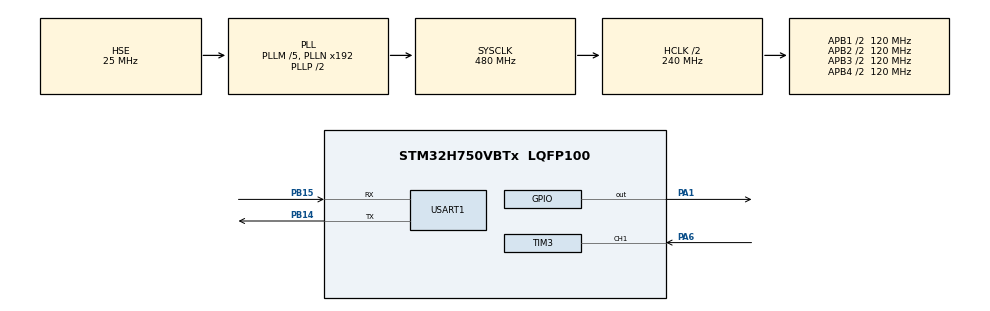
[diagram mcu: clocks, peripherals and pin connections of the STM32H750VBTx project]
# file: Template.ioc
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CORTEX_M7.AccessPermission-Cortex_Memory_Protection_Unit_Region0_Settings=MPU_REGION_FULL_ACCESS
CORTEX_M7.AccessPermission-Cortex_Memory_Protection_Unit_Region1_Settings=MPU_REGION_FULL_ACCESS
CORTEX_M7.AccessPermission-Cortex_Memory_Protection_Unit_Region2_Settings=MPU_REGION_FULL_ACCESS
CORTEX_M7.AccessPermission-Cortex_Memory_Protection_Unit_Region3_Settings=MPU_REGION_FULL_ACCESS
CORTEX_M7.AccessPermission-Cortex_Memory_Protection_Unit_Region4_Settings=MPU_REGION_FULL_ACCESS
CORTEX_M7.BaseAddress-Cortex_Memory_Protection_Unit_Region0_Settings=0x24000000
CORTEX_M7.BaseAddress-Cortex_Memory_Protection_Unit_Region1_Settings=0x30000000
CORTEX_M7.BaseAddress-Cortex_Memory_Protection_Unit_Region2_Settings=0x30020000
CORTEX_M7.BaseAddress-Cortex_Memory_Protection_Unit_Region3_Settings=0x30040000
CORTEX_M7.BaseAddress-Cortex_Memory_Protection_Unit_Region4_Settings=0x38000000
CORTEX_M7.CPU_DCache=Enabled
CORTEX_M7.CPU_ICache=Enabled
CORTEX_M7.Enable-Cortex_Memory_Protection_Unit_Region0_Settings=MPU_REGION_ENABLE
CORTEX_M7.Enable-Cortex_Memory_Protection_Unit_Region1_Settings=MPU_REGION_ENABLE
CORTEX_M7.Enable-Cortex_Memory_Protection_Unit_Region2_Settings=MPU_REGION_ENABLE
CORTEX_M7.Enable-Cortex_Memory_Protection_Unit_Region3_Settings=MPU_REGION_ENABLE
CORTEX_M7.Enable-Cortex_Memory_Protection_Unit_Region4_Settings=MPU_REGION_ENABLE
CORTEX_M7.IsBufferable-Cortex_Memory_Protection_Unit_Region0_Settings=MPU_ACCESS_BUFFERABLE
CORTEX_M7.IsCacheable-Cortex_Memory_Protection_Unit_Region0_Settings=MPU_ACCESS_CACHEABLE
CORTEX_M7.MPU_Control=MPU_PRIVILEGED_DEFAULT
CORTEX_M7.Size-Cortex_Memory_Protection_Unit_Region0_Settings=MPU_REGION_SIZE_512KB
CORTEX_M7.Size-Cortex_Memory_Protection_Unit_Region1_Settings=MPU_REGION_SIZE_128KB
CORTEX_M7.Size-Cortex_Memory_Protection_Unit_Region2_Settings=MPU_REGION_SIZE_128KB
CORTEX_M7.Size-Cortex_Memory_Protection_Unit_Region3_Settings=MPU_REGION_SIZE_32KB
CORTEX_M7.Size-Cortex_Memory_Protection_Unit_Region4_Settings=MPU_REGION_SIZE_64KB
CORTEX_M7.TypeExtField-Cortex_Memory_Protection_Unit_Region0_Settings=MPU_TEX_LEVEL1
CORTEX_M7.TypeExtField-Cortex_Memory_Protection_Unit_Region1_Settings=MPU_TEX_LEVEL1
CORTEX_M7.TypeExtField-Cortex_Memory_Protection_Unit_Region2_Settings=MPU_TEX_LEVEL1
CORTEX_M7.TypeExtField-Cortex_Memory_Protection_Unit_Region3_Settings=MPU_TEX_LEVEL1
CORTEX_M7.TypeExtField-Cortex_Memory_Protection_Unit_Region4_Settings=MPU_TEX_LEVEL1
Mcu.Family=STM32H7
Mcu.Name=STM32H750VBTx
Mcu.Package=LQFP100
NVIC.PriorityGroup=NVIC_PRIORITYGROUP_4
NVIC.TIM3_IRQn=true\:0\:0\:false\:false\:true\:true\:true\:true
NVIC.TIM5_IRQn=true\:0\:0\:false\:false\:true\:true\:true\:true
PA1.GPIO_PuPd=GPIO_PULLDOWN
PA1.Signal=GPIO_Output
PA13\ (JTMS/SWDIO).Mode=Serial_Wire
PA13\ (JTMS/SWDIO).Signal=DEBUG_JTMS-SWDIO
PA14\ (JTCK/SWCLK).Mode=Serial_Wire
PA14\ (JTCK/SWCLK).Signal=DEBUG_JTCK-SWCLK
PA6.Signal=S_TIM3_CH1
PB14.Mode=Asynchronous
PB14.Signal=USART1_TX
PB15.Mode=Asynchronous
PB15.Signal=USART1_RX
PH0-OSC_IN\ (PH0).Mode=HSE-External-Oscillator
PH0-OSC_IN\ (PH0).Signal=RCC_OSC_IN
PH1-OSC_OUT\ (PH1).Mode=HSE-External-Oscillator
PH1-OSC_OUT\ (PH1).Signal=RCC_OSC_OUT
ProjectManager.HeapSize=0x200
ProjectManager.StackSize=0x7400
ProjectManager.TargetToolchain=MDK-ARM V5.32
RCC.ADCFreq_Value=50390625
RCC.APB1Freq_Value=120000000
RCC.APB2Freq_Value=120000000
RCC.APB3Freq_Value=120000000
RCC.APB4Freq_Value=120000000
RCC.CortexFreq_Value=480000000
RCC.D1PPRE=RCC_APB3_DIV2
RCC.D2PPRE1=RCC_APB1_DIV2
RCC.D2PPRE2=RCC_APB2_DIV2
RCC.D3PPRE=RCC_APB4_DIV2
RCC.DIVM1=5
RCC.DIVN1=192
RCC.HCLKFreq_Value=240000000
RCC.HPRE=RCC_HCLK_DIV2
RCC.PLLSourceVirtual=RCC_PLLSOURCE_HSE
RCC.ProductRev=revV
RCC.SYSCLKFreq_VALUE=480000000
RCC.SYSCLKSource=RCC_SYSCLKSOURCE_PLLCLK
RCC.USBFreq_Value=480000000
SH.S_TIM3_CH1.0=TIM3_CH1,Input_Capture1_from_TI1
TIM2.Period=0xFFFFFFFF
TIM3.Channel-Input_Capture1_from_TI1=TIM_CHANNEL_1
TIM3.Period=0
TIM3.Prescaler=240-1
TIM5.Period=10000-1
TIM5.Prescaler=24000-1
TIM7.Prescaler=239
USART1.VirtualMode-Asynchronous=VM_ASYNC
VP_TIM2_VS_ClockSourceINT.Mode=Internal
VP_TIM3_VS_ClockSourceINT.Mode=Internal
VP_TIM5_VS_ClockSourceINT.Mode=Internal
VP_TIM7_VS_ClockSourceINT.Mode=Enable_Timer
board=custom

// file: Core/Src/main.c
/* USER CODE BEGIN Header */
/**
  ******************************************************************************
  * @file           : main.c
  * @brief          : Main program body
  ******************************************************************************
  * @attention
  *
  * Copyright (c) 2023 STMicroelectronics.
  * All rights reserved.
  *
  * This software is licensed under terms that can be found in the LICENSE file
  * in the root directory of this software component.
  * If no LICENSE file comes with this software, it is provided AS-IS.
  *
  ******************************************************************************
  */
/* USER CODE END Header */
#include "main.h"
#include "tim.h"
#include "usart.h"
#include "gpio.h"

/* USER CODE BEGIN PV */
uint16_t GATE_OPEN,GATE_READY2CLOSE;
uint32_t Nx,Nb;
uint8_t Fre_State=LOW_FREQUENCY;	//默认低频
double fre;

/* USER CODE END PV */

void SystemClock_Config(void);
static void MPU_Initialize(void);
static void MPU_Config(void);
/* USER CODE BEGIN PFP */
void Parameter_Init(void);
void Turn2HIGH_FREQUENCY_MODE(void);
void Turn2LOW_FREQUENCY_MODE(void);

void MX_TIM3_Init_ETR(void);

/* USER CODE END PFP */

int main(void)
{

  /* Enable I-Cache---------------------------------------------------------*/
  SCB_EnableICache();

  /* Enable D-Cache---------------------------------------------------------*/
  SCB_EnableDCache();

  /* MCU Configuration--------------------------------------------------------*/

  /* Reset of all peripherals, Initializes the Flash interface and the Systick. */
  HAL_Init();

  /* MPU Configuration--------------------------------------------------------*/
  MPU_Config();

  /* Configure the system clock */
  SystemClock_Config();

  /* Initialize all configured peripherals */
  MX_GPIO_Init();
  MX_TIM7_Init();
  MX_USART1_UART_Init();
  MX_TIM2_Init();
  MX_TIM3_Init();
  MX_TIM5_Init();
  /* USER CODE BEGIN 2 */
	Parameter_Init();

	printf("\nstart\n");
  HAL_TIM_IC_Start_IT(&htim3, TIM_CHANNEL_1);    //启动输入捕获

  /* USER CODE END 2 */

  /* Infinite loop */
  while (1)
  {

  }
}

void SystemClock_Config(void)
{
  RCC_OscInitTypeDef RCC_OscInitStruct = {0};
  RCC_ClkInitTypeDef RCC_ClkInitStruct = {0};

  /** Supply configuration update enable
  */
  HAL_PWREx_ConfigSupply(PWR_LDO_SUPPLY);

  /** Configure the main internal regulator output voltage
  */
  __HAL_PWR_VOLTAGESCALING_CONFIG(PWR_REGULATOR_VOLTAGE_SCALE1);

  while(!__HAL_PWR_GET_FLAG(PWR_FLAG_VOSRDY)) {}

  __HAL_RCC_SYSCFG_CLK_ENABLE();
  __HAL_PWR_VOLTAGESCALING_CONFIG(PWR_REGULATOR_VOLTAGE_SCALE0);

  while(!__HAL_PWR_GET_FLAG(PWR_FLAG_VOSRDY)) {}

  /** Initializes the RCC Oscillators according to the specified parameters
  * in the RCC_OscInitTypeDef structure.
  */
  RCC_OscInitStruct.OscillatorType = RCC_OSCILLATORTYPE_HSE;
  RCC_OscInitStruct.HSEState = RCC_HSE_ON;
  RCC_OscInitStruct.PLL.PLLState = RCC_PLL_ON;
  RCC_OscInitStruct.PLL.PLLSource = RCC_PLLSOURCE_HSE;
  RCC_OscInitStruct.PLL.PLLM = 5;
  RCC_OscInitStruct.PLL.PLLN = 192;
  RCC_OscInitStruct.PLL.PLLP = 2;
  RCC_OscInitStruct.PLL.PLLQ = 2;
  RCC_OscInitStruct.PLL.PLLR = 2;
  RCC_OscInitStruct.PLL.PLLRGE = RCC_PLL1VCIRANGE_2;
  RCC_OscInitStruct.PLL.PLLVCOSEL = RCC_PLL1VCOWIDE;
  RCC_OscInitStruct.PLL.PLLFRACN = 0;
  if (HAL_RCC_OscConfig(&RCC_OscInitStruct) != HAL_OK)
  {
    Error_Handler();
  }

  /** Initializes the CPU, AHB and APB buses clocks
  */
  RCC_ClkInitStruct.ClockType = RCC_CLOCKTYPE_HCLK|RCC_CLOCKTYPE_SYSCLK
                              |RCC_CLOCKTYPE_PCLK1|RCC_CLOCKTYPE_PCLK2
                              |RCC_CLOCKTYPE_D3PCLK1|RCC_CLOCKTYPE_D1PCLK1;
  RCC_ClkInitStruct.SYSCLKSource = RCC_SYSCLKSOURCE_PLLCLK;
  RCC_ClkInitStruct.SYSCLKDivider = RCC_SYSCLK_DIV1;
  RCC_ClkInitStruct.AHBCLKDivider = RCC_HCLK_DIV2;
  RCC_ClkInitStruct.APB3CLKDivider = RCC_APB3_DIV2;
  RCC_ClkInitStruct.APB1CLKDivider = RCC_APB1_DIV2;
  RCC_ClkInitStruct.APB2CLKDivider = RCC_APB2_DIV2;
  RCC_ClkInitStruct.APB4CLKDivider = RCC_APB4_DIV2;

  if (HAL_RCC_ClockConfig(&RCC_ClkInitStruct, FLASH_LATENCY_4) != HAL_OK)
  {
    Error_Handler();
  }
}

/* USER CODE BEGIN 4 */

//初始化
void Parameter_Init(void)
{

	GATE_OPEN=0;
	GATE_READY2CLOSE=0;
	Nx=0;
	Nb=0;
	fre=0.0;
}

//输入捕获的中断回调函数
void HAL_TIM_IC_CaptureCallback(TIM_HandleTypeDef *htim)
{
	if(TIM3 == htim->Instance)
	{

		if(!GATE_OPEN)
		{
			//启动闸门 TIM5 开始计数标准信号
			__HAL_TIM_CLEAR_IT(&htim5, TIM_IT_UPDATE);
			HAL_TIM_Base_Start_IT(&htim5);
			HAL_TIM_Base_Start(&htim2);
			GATE_OPEN=1;
		}
		else
		{
			//测频中，捕捉到一次信号 输入计数值加1
			Nx++;

			//避免低频模式，输入频率过高，程序卡死
			if(Nx>20000)
			{
				HAL_TIM_Base_Stop(&htim2);
				HAL_TIM_IC_Stop_IT(&htim3, TIM_CHANNEL_1);
				HAL_TIM_Base_Stop_IT(&htim5);
				Turn2HIGH_FREQUENCY_MODE();
			}
		}

		if(GATE_OPEN&&GATE_READY2CLOSE)
		{
			//关闭闸门 停止捕捉
			HAL_TIM_Base_Stop(&htim2);
			HAL_TIM_IC_Stop_IT(&htim3, TIM_CHANNEL_1);
			HAL_TIM_Base_Stop_IT(&htim5);
			//锁存Nx Nb数据 计算频率值
			Nb=__HAL_TIM_GetCounter(&htim2);
			fre=((double)Nx)/((double)Nb)*240000000.0;
			//判断
			if(fre<10000.0)
			{
	//		  	// LCD显示
	//				LCD_Display();
			int a0,a1;
			int b0,b1;
			double period;
			period=1.0/fre;
			//频率单位
			if(fre<=1000)
			{
				printf("t4.txt=\"Hz\"\xFF\xFF\xFF");
			}
			else if(fre<=1000000&&fre>1000)
			{
				printf("t4.txt=\"kHz\"\xFF\xFF\xFF");
				fre=fre/1000;
			}
			else if(fre>1000000)
			{
				printf("t4.txt=\"MHz\"\xFF\xFF\xFF");
				fre=fre/1000000;
			}
			//周期单位
			if(period>=1)
			{
				printf("t5.txt=\"s\"\xFF\xFF\xFF");
			}
			else if(period<1&&period>=0.001)
			{
				printf("t5.txt=\"ms\"\xFF\xFF\xFF");
				period=period*1000.0;
			}
			else if(period<0.001&&period>=0.000001)
			{
				printf("t5.txt=\"us\"\xFF\xFF\xFF");
				period=period*1000000.0;
			}
			a0=fre;
			a1=(fre-a0)*1000000;
			b0=period;
			b1=(period-b0)*1000000;
			printf("n0.val=%d\xFF\xFF\xFF",a0);
			printf("n1.val=%d\xFF\xFF\xFF",a1);
			printf("n2.val=%d\xFF\xFF\xFF",b0);
			printf("n5.val=%d\xFF\xFF\xFF",b1);
	//				HAL_Delay(500);

					//准备下一次测量
					Parameter_Init();
					__HAL_TIM_SetCounter(&htim2,0);  //注意！！！！！！！计数值不会因为定时器暂停而清零
					HAL_TIM_IC_Start_IT(&htim3, TIM_CHANNEL_1);    //启动输入捕获
			}
			else
			{
				Turn2HIGH_FREQUENCY_MODE();
			}
		}
	}
}

//定时器触发的中断回调函数
void HAL_TIM_PeriodElapsedCallback(TIM_HandleTypeDef *htim)
{
	//闸门溢出 规定测量时间到
		if(TIM5 == htim->Instance&&Fre_State==LOW_FREQUENCY)
    {
			GATE_READY2CLOSE=1;
    }
		else if(TIM5 == htim->Instance&&Fre_State==HIGH_FREQUENCY)
    {
			HAL_TIM_Base_Stop_IT(&htim5);
			HAL_TIM_Base_Stop_IT(&htim3);
			HAL_TIM_Base_Stop(&htim2);
			Nx+=TIM3->CNT;
			Nb=TIM2->CNT;
	  	fre=((double)Nx)/((double)Nb)*240000000.0;
			if(Nx>=10000.0)
			{
				//显示
//			LCD_Display();

//			printf("fre = %f\n",fre);
			int a0,a1;
			int b0,b1;
			double period;
			period=1.0/fre;
			//频率单位
			if(fre<=1000)
			{
				printf("t4.txt=\"Hz\"\xFF\xFF\xFF");
			}
			else if(fre<=1000000&&fre>1000)
			{
				printf("t4.txt=\"kHz\"\xFF\xFF\xFF");
				fre=fre/1000;
			}
			else if(fre>1000000)
			{
				printf("t4.txt=\"MHz\"\xFF\xFF\xFF");
				fre=fre/1000000;
			}
			//周期单位
			if(period>=1)
			{
				printf("t5.txt=\"s\"\xFF\xFF\xFF");
			}
			else if(period<1&&period>=0.001)
			{
				printf("t5.txt=\"ms\"\xFF\xFF\xFF");
				period=period*1000.0;
			}
			else if(period<0.001&&period>=0.000001)
			{
				printf("t5.txt=\"us\"\xFF\xFF\xFF");
				period=period*1000000.0;
			}
			a0=fre;
			a1=(fre-a0)*1000000;
			b0=period;
			b1=(period-b0)*1000000;
			printf("n0.val=%d\xFF\xFF\xFF",a0);
			printf("n1.val=%d\xFF\xFF\xFF",a1);
			printf("n2.val=%d\xFF\xFF\xFF",b0);
			printf("n5.val=%d\xFF\xFF\xFF",b1);
//			HAL_Delay(500);

	    Parameter_Init();
	  	__HAL_TIM_SetCounter(&htim2,0);  //注意！！！！！！！计数值不会因为定时器暂停而清零
			__HAL_TIM_SetCounter(&htim3,0);  //注意！！！！！！！计数值不会因为定时器暂停而清零

			HAL_TIM_Base_Start_IT(&htim5);
			HAL_TIM_Base_Start_IT(&htim3);
			HAL_TIM_Base_Start(&htim2);
			}
			else
			{
				Turn2LOW_FREQUENCY_MODE();
			}
    }

		//溢出
		else if(TIM3 == htim->Instance&&Fre_State==HIGH_FREQUENCY)
    {
			Nx+=0xFFFF;
    }

}

//测高频
void Turn2HIGH_FREQUENCY_MODE(void)
{
		  Fre_State=HIGH_FREQUENCY;
			MX_TIM3_Init_ETR();

			Parameter_Init();
	  	__HAL_TIM_SetCounter(&htim2,0);  //注意！！！！！！！计数值不会因为定时器暂停而清零
			__HAL_TIM_SetCounter(&htim3,0);  //注意！！！！！！！计数值不会因为定时器暂停而清零

			HAL_TIM_Base_Start_IT(&htim5);
			HAL_TIM_Base_Start_IT(&htim3);
			HAL_TIM_Base_Start(&htim2);
}

//测低频
void Turn2LOW_FREQUENCY_MODE(void)
{
		Fre_State=LOW_FREQUENCY;
		Parameter_Init();
	  __HAL_TIM_SetCounter(&htim2,0);  //注意！！！！！！！计数值不会因为定时器暂停而清零
		MX_TIM3_Init();
		HAL_TIM_IC_Start_IT(&htim3, TIM_CHANNEL_1);    //启动输入捕获
}

/* USER CODE END 4 */

/* MPU Configuration */

void MPU_Config(void)
{
  MPU_Region_InitTypeDef MPU_InitStruct = {0};

  /* Disables the MPU */
  HAL_MPU_Disable();

  /** Initializes and configures the Region and the memory to be protected
  */
  MPU_InitStruct.Enable = MPU_REGION_ENABLE;
  MPU_InitStruct.Number = MPU_REGION_NUMBER0;
  MPU_InitStruct.BaseAddress = 0x24000000;
  MPU_InitStruct.Size = MPU_REGION_SIZE_512KB;
  MPU_InitStruct.SubRegionDisable = 0x0;
  MPU_InitStruct.TypeExtField = MPU_TEX_LEVEL1;
  MPU_InitStruct.AccessPermission = MPU_REGION_FULL_ACCESS;
  MPU_InitStruct.DisableExec = MPU_INSTRUCTION_ACCESS_ENABLE;
  MPU_InitStruct.IsShareable = MPU_ACCESS_NOT_SHAREABLE;
  MPU_InitStruct.IsCacheable = MPU_ACCESS_CACHEABLE;
  MPU_InitStruct.IsBufferable = MPU_ACCESS_BUFFERABLE;

  HAL_MPU_ConfigRegion(&MPU_InitStruct);

  /** Initializes and configures the Region and the memory to be protected
  */
  MPU_InitStruct.Number = MPU_REGION_NUMBER1;
  MPU_InitStruct.BaseAddress = 0x30000000;
  MPU_InitStruct.Size = MPU_REGION_SIZE_128KB;
  MPU_InitStruct.IsCacheable = MPU_ACCESS_NOT_CACHEABLE;
  MPU_InitStruct.IsBufferable = MPU_ACCESS_NOT_BUFFERABLE;

  HAL_MPU_ConfigRegion(&MPU_InitStruct);

  /** Initializes and configures the Region and the memory to be protected
  */
  MPU_InitStruct.Number = MPU_REGION_NUMBER2;
  MPU_InitStruct.BaseAddress = 0x30020000;

  HAL_MPU_ConfigRegion(&MPU_InitStruct);

  /** Initializes and configures the Region and the memory to be protected
  */
  MPU_InitStruct.Number = MPU_REGION_NUMBER3;
  MPU_InitStruct.BaseAddress = 0x30040000;
  MPU_InitStruct.Size = MPU_REGION_SIZE_32KB;

  HAL_MPU_ConfigRegion(&MPU_InitStruct);

  /** Initializes and configures the Region and the memory to be protected
  */
  MPU_InitStruct.Number = MPU_REGION_NUMBER4;
  MPU_InitStruct.BaseAddress = 0x38000000;
  MPU_InitStruct.Size = MPU_REGION_SIZE_64KB;

  HAL_MPU_ConfigRegion(&MPU_InitStruct);
  /* Enables the MPU */
  HAL_MPU_Enable(MPU_PRIVILEGED_DEFAULT);

}

void Error_Handler(void)
{
  __disable_irq();
  while (1)
  {
  }
}
